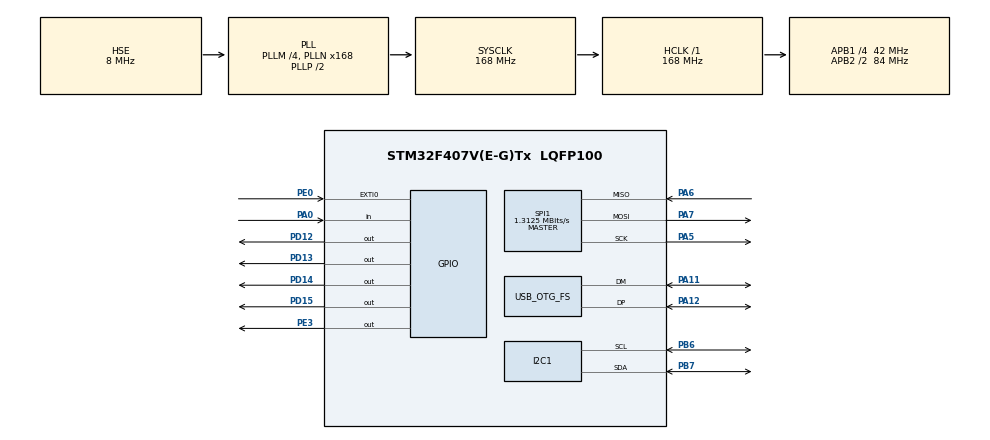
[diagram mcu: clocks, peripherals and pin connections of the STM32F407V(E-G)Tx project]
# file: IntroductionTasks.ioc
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FREERTOS.Mutexes01=blinking_resource,Dynamic,NULL
FREERTOS.Queues01=myQ1,8,uint16_t,0,Dynamic,NULL,NULL
FREERTOS.Tasks01=accTask,-2,1000,acc_fetch,Default,NULL,Dynamic,NULL,NULL;tmpTask,-2,1000,tmp_fetch,Default,NULL,Dynamic,NULL,NULL;ledGreenTask,0,128,ledGreen,Default,NULL,Dynamic,NULL,NULL;ledOrangeTask,0,128,ledOrange,Default,NULL,Dynamic,NULL,NULL;ledRedTask,0,128,ledRed,Default,NULL,Dynamic,NULL,NULL;ledBlueTask,0,128,ledBlue,Default,NULL,Dynamic,NULL,NULL
FREERTOS.configUSE_NEWLIB_REENTRANT=1
Mcu.Family=STM32F4
Mcu.Name=STM32F407V(E-G)Tx
Mcu.Package=LQFP100
NVIC.OTG_FS_IRQn=true\:5\:0\:false\:false\:true\:true\:false\:true\:true
NVIC.PriorityGroup=NVIC_PRIORITYGROUP_4
NVIC.TIM1_UP_TIM10_IRQn=true\:15\:0\:false\:false\:true\:false\:false\:true\:true
NVIC.TimeBase=TIM1_UP_TIM10_IRQn
NVIC.TimeBaseIP=TIM1
PA0-WKUP.Signal=GPIO_Input
PA11.Mode=Device_Only
PA11.Signal=USB_OTG_FS_DM
PA12.Mode=Device_Only
PA12.Signal=USB_OTG_FS_DP
PA5.Mode=Full_Duplex_Master
PA5.Signal=SPI1_SCK
PA6.Mode=Full_Duplex_Master
PA6.Signal=SPI1_MISO
PA7.Mode=Full_Duplex_Master
PA7.Signal=SPI1_MOSI
PB6.Mode=I2C
PB6.Signal=I2C1_SCL
PB7.Mode=I2C
PB7.Signal=I2C1_SDA
PD12.Signal=GPIO_Output
PD13.Signal=GPIO_Output
PD14.Signal=GPIO_Output
PD15.Signal=GPIO_Output
PE0.GPIO_ModeDefaultEXTI=GPIO_MODE_IT_FALLING
PE0.GPIO_PuPd=GPIO_NOPULL
PE0.Signal=GPXTI0
PE3.PinState=GPIO_PIN_SET
PE3.Signal=GPIO_Output
PH0-OSC_IN.Mode=HSE-External-Oscillator
PH0-OSC_IN.Signal=RCC_OSC_IN
PH1-OSC_OUT.Mode=HSE-External-Oscillator
PH1-OSC_OUT.Signal=RCC_OSC_OUT
ProjectManager.HeapSize=0x200
ProjectManager.StackSize=0x400
ProjectManager.TargetToolchain=STM32CubeIDE
RCC.48MHZClocksFreq_Value=48000000
RCC.AHBFreq_Value=168000000
RCC.APB1CLKDivider=RCC_HCLK_DIV4
RCC.APB1Freq_Value=42000000
RCC.APB1TimFreq_Value=84000000
RCC.APB2CLKDivider=RCC_HCLK_DIV2
RCC.APB2Freq_Value=84000000
RCC.APB2TimFreq_Value=168000000
RCC.CortexFreq_Value=168000000
RCC.HCLKFreq_Value=168000000
RCC.HSE_VALUE=8000000
RCC.HSI_VALUE=16000000
RCC.LSE_VALUE=32768
RCC.PLLM=4
RCC.PLLN=168
RCC.PLLQ=7
RCC.SYSCLKFreq_VALUE=168000000
RCC.SYSCLKSource=RCC_SYSCLKSOURCE_PLLCLK
RCC.VCOOutputFreq_Value=336000000
SPI1.BaudRatePrescaler=SPI_BAUDRATEPRESCALER_64
SPI1.CLKPhase=SPI_PHASE_2EDGE
SPI1.CLKPolarity=SPI_POLARITY_HIGH
SPI1.CalculateBaudRate=1.3125 MBits/s
SPI1.Direction=SPI_DIRECTION_2LINES
SPI1.Mode=SPI_MODE_MASTER
SPI1.VirtualType=VM_MASTER
USB_DEVICE.CLASS_NAME_FS=CDC
USB_DEVICE.VirtualMode-CDC_FS=Cdc
USB_DEVICE.VirtualModeFS=Cdc_FS
USB_OTG_FS.VirtualMode=Device_Only
VP_FREERTOS_VS_CMSIS_V1.Mode=CMSIS_V1
VP_SYS_VS_tim1.Mode=TIM1
VP_USB_DEVICE_VS_USB_DEVICE_CDC_FS.Mode=CDC_FS
board=custom

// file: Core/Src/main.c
/* USER CODE BEGIN Header */
/**
  ******************************************************************************
  * @file           : main.c
  * @brief          : Main program body
  ******************************************************************************
  * @attention
  *
  * Copyright (c) 2024 STMicroelectronics.
  * All rights reserved.
  *
  * This software is licensed under terms that can be found in the LICENSE file
  * in the root directory of this software component.
  * If no LICENSE file comes with this software, it is provided AS-IS.
  *
  ******************************************************************************
  */
/* USER CODE END Header */
#include "main.h"
#include "cmsis_os.h"
#include "usb_device.h"

/* USER CODE BEGIN Includes */
#include "task2.h"
#include "task3.h"
#include "task4.h"
#include "task5.h"
/* USER CODE END Includes */

I2C_HandleTypeDef hi2c1;

SPI_HandleTypeDef hspi1;

osThreadId accTaskHandle;
osThreadId tmpTaskHandle;
osThreadId ledGreenTaskHandle;
osThreadId ledOrangeTaskHandle;
osThreadId ledRedTaskHandle;
osThreadId ledBlueTaskHandle;
osMessageQId myQ1Handle;
osMutexId blinking_resourceHandle;

void SystemClock_Config(void);
static void MX_GPIO_Init(void);
static void MX_I2C1_Init(void);
static void MX_SPI1_Init(void);
void acc_fetch(void const * argument);
void tmp_fetch(void const * argument);
void ledGreen(void const * argument);
void ledOrange(void const * argument);
void ledRed(void const * argument);
void ledBlue(void const * argument);

int main(void)
{

  /* MCU Configuration--------------------------------------------------------*/

  /* Reset of all peripherals, Initializes the Flash interface and the Systick. */
  HAL_Init();

  /* Configure the system clock */
  SystemClock_Config();

  /* Initialize all configured peripherals */
  MX_GPIO_Init();
  MX_I2C1_Init();
  MX_SPI1_Init();

  /* Create the mutex(es) */
  /* definition and creation of blinking_resource */
  osMutexDef(blinking_resource);
  blinking_resourceHandle = osMutexCreate(osMutex(blinking_resource));

  /* Create the queue(s) */
  /* definition and creation of myQ1 */
  osMessageQDef(myQ1, 8, uint16_t);
  myQ1Handle = osMessageCreate(osMessageQ(myQ1), NULL);

  /* Create the thread(s) */
  /* definition and creation of accTask */
  osThreadDef(accTask, acc_fetch, osPriorityLow, 0, 1000);
  accTaskHandle = osThreadCreate(osThread(accTask), NULL);

  /* definition and creation of tmpTask */
  osThreadDef(tmpTask, tmp_fetch, osPriorityLow, 0, 1000);
  tmpTaskHandle = osThreadCreate(osThread(tmpTask), NULL);

  /* definition and creation of ledGreenTask */
  osThreadDef(ledGreenTask, ledGreen, osPriorityNormal, 0, 128);
  ledGreenTaskHandle = osThreadCreate(osThread(ledGreenTask), NULL);

  /* definition and creation of ledOrangeTask */
  osThreadDef(ledOrangeTask, ledOrange, osPriorityNormal, 0, 128);
  ledOrangeTaskHandle = osThreadCreate(osThread(ledOrangeTask), NULL);

  /* definition and creation of ledRedTask */
  osThreadDef(ledRedTask, ledRed, osPriorityNormal, 0, 128);
  ledRedTaskHandle = osThreadCreate(osThread(ledRedTask), NULL);

  /* definition and creation of ledBlueTask */
  osThreadDef(ledBlueTask, ledBlue, osPriorityNormal, 0, 128);
  ledBlueTaskHandle = osThreadCreate(osThread(ledBlueTask), NULL);

  /* Start scheduler */
  osKernelStart();

  /* We should never get here as control is now taken by the scheduler */
  /* Infinite loop */
  /* USER CODE BEGIN WHILE */
  while (1)
  {
	  HAL_Delay(1000);
    /* USER CODE END WHILE */

  }
}

void SystemClock_Config(void)
{
  RCC_OscInitTypeDef RCC_OscInitStruct = {0};
  RCC_ClkInitTypeDef RCC_ClkInitStruct = {0};

  /** Configure the main internal regulator output voltage
  */
  __HAL_RCC_PWR_CLK_ENABLE();
  __HAL_PWR_VOLTAGESCALING_CONFIG(PWR_REGULATOR_VOLTAGE_SCALE1);

  /** Initializes the RCC Oscillators according to the specified parameters
  * in the RCC_OscInitTypeDef structure.
  */
  RCC_OscInitStruct.OscillatorType = RCC_OSCILLATORTYPE_HSE;
  RCC_OscInitStruct.HSEState = RCC_HSE_ON;
  RCC_OscInitStruct.PLL.PLLState = RCC_PLL_ON;
  RCC_OscInitStruct.PLL.PLLSource = RCC_PLLSOURCE_HSE;
  RCC_OscInitStruct.PLL.PLLM = 4;
  RCC_OscInitStruct.PLL.PLLN = 168;
  RCC_OscInitStruct.PLL.PLLP = RCC_PLLP_DIV2;
  RCC_OscInitStruct.PLL.PLLQ = 7;
  if (HAL_RCC_OscConfig(&RCC_OscInitStruct) != HAL_OK)
  {
    Error_Handler();
  }

  /** Initializes the CPU, AHB and APB buses clocks
  */
  RCC_ClkInitStruct.ClockType = RCC_CLOCKTYPE_HCLK|RCC_CLOCKTYPE_SYSCLK
                              |RCC_CLOCKTYPE_PCLK1|RCC_CLOCKTYPE_PCLK2;
  RCC_ClkInitStruct.SYSCLKSource = RCC_SYSCLKSOURCE_PLLCLK;
  RCC_ClkInitStruct.AHBCLKDivider = RCC_SYSCLK_DIV1;
  RCC_ClkInitStruct.APB1CLKDivider = RCC_HCLK_DIV4;
  RCC_ClkInitStruct.APB2CLKDivider = RCC_HCLK_DIV2;

  if (HAL_RCC_ClockConfig(&RCC_ClkInitStruct, FLASH_LATENCY_5) != HAL_OK)
  {
    Error_Handler();
  }
}

static void MX_I2C1_Init(void)
{

  hi2c1.Instance = I2C1;
  hi2c1.Init.ClockSpeed = 100000;
  hi2c1.Init.DutyCycle = I2C_DUTYCYCLE_2;
  hi2c1.Init.OwnAddress1 = 0;
  hi2c1.Init.AddressingMode = I2C_ADDRESSINGMODE_7BIT;
  hi2c1.Init.DualAddressMode = I2C_DUALADDRESS_DISABLE;
  hi2c1.Init.OwnAddress2 = 0;
  hi2c1.Init.GeneralCallMode = I2C_GENERALCALL_DISABLE;
  hi2c1.Init.NoStretchMode = I2C_NOSTRETCH_DISABLE;
  if (HAL_I2C_Init(&hi2c1) != HAL_OK)
  {
    Error_Handler();
  }

}

static void MX_SPI1_Init(void)
{

  /* SPI1 parameter configuration*/
  hspi1.Instance = SPI1;
  hspi1.Init.Mode = SPI_MODE_MASTER;
  hspi1.Init.Direction = SPI_DIRECTION_2LINES;
  hspi1.Init.DataSize = SPI_DATASIZE_8BIT;
  hspi1.Init.CLKPolarity = SPI_POLARITY_HIGH;
  hspi1.Init.CLKPhase = SPI_PHASE_2EDGE;
  hspi1.Init.NSS = SPI_NSS_SOFT;
  hspi1.Init.BaudRatePrescaler = SPI_BAUDRATEPRESCALER_64;
  hspi1.Init.FirstBit = SPI_FIRSTBIT_MSB;
  hspi1.Init.TIMode = SPI_TIMODE_DISABLE;
  hspi1.Init.CRCCalculation = SPI_CRCCALCULATION_DISABLE;
  hspi1.Init.CRCPolynomial = 10;
  if (HAL_SPI_Init(&hspi1) != HAL_OK)
  {
    Error_Handler();
  }

}

static void MX_GPIO_Init(void)
{
  GPIO_InitTypeDef GPIO_InitStruct = {0};

  /* GPIO Ports Clock Enable */
  __HAL_RCC_GPIOE_CLK_ENABLE();
  __HAL_RCC_GPIOH_CLK_ENABLE();
  __HAL_RCC_GPIOA_CLK_ENABLE();
  __HAL_RCC_GPIOD_CLK_ENABLE();
  __HAL_RCC_GPIOB_CLK_ENABLE();

  /*Configure GPIO pin Output Level */
  HAL_GPIO_WritePin(GPIOE, GPIO_PIN_3, GPIO_PIN_SET);

  /*Configure GPIO pin Output Level */
  HAL_GPIO_WritePin(GPIOD, GPIO_PIN_12|GPIO_PIN_13|GPIO_PIN_14|GPIO_PIN_15, GPIO_PIN_RESET);

  /*Configure GPIO pin : PE3 */
  GPIO_InitStruct.Pin = GPIO_PIN_3;
  GPIO_InitStruct.Mode = GPIO_MODE_OUTPUT_PP;
  GPIO_InitStruct.Pull = GPIO_NOPULL;
  GPIO_InitStruct.Speed = GPIO_SPEED_FREQ_LOW;
  HAL_GPIO_Init(GPIOE, &GPIO_InitStruct);

  /*Configure GPIO pin : PA0 */
  GPIO_InitStruct.Pin = GPIO_PIN_0;
  GPIO_InitStruct.Mode = GPIO_MODE_INPUT;
  GPIO_InitStruct.Pull = GPIO_NOPULL;
  HAL_GPIO_Init(GPIOA, &GPIO_InitStruct);

  /*Configure GPIO pins : PD12 PD13 PD14 PD15 */
  GPIO_InitStruct.Pin = GPIO_PIN_12|GPIO_PIN_13|GPIO_PIN_14|GPIO_PIN_15;
  GPIO_InitStruct.Mode = GPIO_MODE_OUTPUT_PP;
  GPIO_InitStruct.Pull = GPIO_NOPULL;
  GPIO_InitStruct.Speed = GPIO_SPEED_FREQ_LOW;
  HAL_GPIO_Init(GPIOD, &GPIO_InitStruct);

  /*Configure GPIO pin : PE0 */
  GPIO_InitStruct.Pin = GPIO_PIN_0;
  GPIO_InitStruct.Mode = GPIO_MODE_IT_FALLING;
  GPIO_InitStruct.Pull = GPIO_NOPULL;
  HAL_GPIO_Init(GPIOE, &GPIO_InitStruct);

}

/* USER CODE BEGIN 4 */

void blink_led_5_time(uint16_t GPIO_PIN){
	osMutexWait(blinking_resourceHandle, HAL_MAX_DELAY);
	for (int i = 0; i < 5; i++){
		HAL_GPIO_TogglePin(GPIOD, GPIO_PIN);
		HAL_Delay(500);
	}
	osMutexRelease(blinking_resourceHandle);
}

/*
 * Uncomment callback if using NVIC for task 4.
void HAL_GPIO_EXTI_Callback(uint16_t GPIO_Pin)
{
	// GPIO_Pin = E0?
	uint8_t buffer_str[200];
	sprintf((char*) &buffer_str, "Data is availible \r\n"); // Store string in buffer
	size_t length = strlen((char*) &buffer_str); // Extract size of string. Need \r\n to give proper length of string.
	CDC_Transmit_FS(buffer_str, length);
}*/

/* USER CODE END 4 */

void acc_fetch(void const * argument)
{
  /* init code for USB_DEVICE */
  MX_USB_DEVICE_Init();
  /* USER CODE BEGIN 5 */
  /* Infinite loop */
  uint8_t buffer[100];
  for(;;)
  {
	  sprintf((char*) &buffer, "In for loop for acc \r\n");
	  size_t length = strlen((char*) &buffer);
	  CDC_Transmit_FS(buffer, length);
	  //task5(&hspi1);
    osDelay(100);
  }
  /* USER CODE END 5 */
}

void tmp_fetch(void const * argument)
{
  /* USER CODE BEGIN tmp_fetch */
	/* Infinite loop */
	uint8_t buffer[100];
	for(;;)
	{
		sprintf((char*) &buffer, "In for loop for temp \r\n");
		size_t length = strlen((char*) &buffer);
		CDC_Transmit_FS(buffer, length);

		//task3(&hi2c1);
		osDelay(100);
	}
  /* USER CODE END tmp_fetch */
}

void ledGreen(void const * argument)
{
  /* USER CODE BEGIN ledGreen */
  /* Infinite loop */
  for(;;)
  {
	blink_led_5_time(GPIO_PIN_12);
    osDelay(1);
  }
  /* USER CODE END ledGreen */
}

void ledOrange(void const * argument)
{
  /* USER CODE BEGIN ledOrange */
  /* Infinite loop */
  for(;;)
  {
	  blink_led_5_time(GPIO_PIN_13);
    osDelay(1);
  }
  /* USER CODE END ledOrange */
}

void ledRed(void const * argument)
{
  /* USER CODE BEGIN ledRed */
  /* Infinite loop */
  for(;;)
  {
	  blink_led_5_time(GPIO_PIN_14);
    osDelay(1);
  }
  /* USER CODE END ledRed */
}

void ledBlue(void const * argument)
{
  /* USER CODE BEGIN ledBlue */
  /* Infinite loop */
  for(;;)
  {
	  blink_led_5_time(GPIO_PIN_15);
    osDelay(1);
  }
  /* USER CODE END ledBlue */
}

void HAL_TIM_PeriodElapsedCallback(TIM_HandleTypeDef *htim)
{
  if (htim->Instance == TIM1) {
    HAL_IncTick();
  }
}

void Error_Handler(void)
{
  __disable_irq();
  while (1)
  {
  }
}
